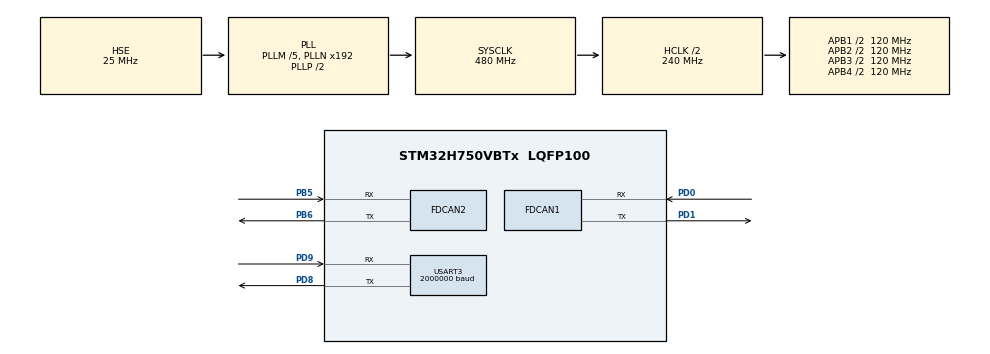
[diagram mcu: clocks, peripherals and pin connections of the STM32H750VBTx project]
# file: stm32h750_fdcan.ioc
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CORTEX_M7.CPU_DCache=Disabled
CORTEX_M7.CPU_ICache=Disabled
FDCAN1.AutoRetransmission=ENABLE
FDCAN1.DataPrescaler=2
FDCAN1.DataSyncJumpWidth=5
FDCAN1.DataTimeSeg1=14
FDCAN1.DataTimeSeg2=5
FDCAN1.ExtFiltersNbr=32
FDCAN1.FrameFormat=FDCAN_FRAME_FD_BRS
FDCAN1.NominalPrescaler=2
FDCAN1.NominalSyncJumpWidth=16
FDCAN1.NominalTimeSeg1=63
FDCAN1.NominalTimeSeg2=16
FDCAN1.RxBufferSize=FDCAN_DATA_BYTES_64
FDCAN1.RxFifo0ElmtSize=FDCAN_DATA_BYTES_64
FDCAN1.RxFifo0ElmtsNbr=32
FDCAN1.RxFifo1ElmtSize=FDCAN_DATA_BYTES_64
FDCAN1.StdFiltersNbr=64
FDCAN1.TransmitPause=ENABLE
FDCAN1.TxElmtSize=FDCAN_DATA_BYTES_64
FDCAN1.TxFifoQueueElmtsNbr=16
FDCAN2.AutoRetransmission=ENABLE
FDCAN2.DataPrescaler=2
FDCAN2.DataSyncJumpWidth=5
FDCAN2.DataTimeSeg1=14
FDCAN2.DataTimeSeg2=5
FDCAN2.ExtFiltersNbr=32
FDCAN2.FrameFormat=FDCAN_FRAME_FD_BRS
FDCAN2.MessageRAMOffset=992
FDCAN2.NominalPrescaler=2
FDCAN2.NominalSyncJumpWidth=16
FDCAN2.NominalTimeSeg1=63
FDCAN2.NominalTimeSeg2=16
FDCAN2.RxBufferSize=FDCAN_DATA_BYTES_64
FDCAN2.RxFifo0ElmtSize=FDCAN_DATA_BYTES_64
FDCAN2.RxFifo0ElmtsNbr=32
FDCAN2.RxFifo1ElmtSize=FDCAN_DATA_BYTES_64
FDCAN2.StdFiltersNbr=64
FDCAN2.TransmitPause=ENABLE
FDCAN2.TxBuffersNbr=0
FDCAN2.TxElmtSize=FDCAN_DATA_BYTES_64
FDCAN2.TxFifoQueueElmtsNbr=16
Mcu.Family=STM32H7
Mcu.Name=STM32H750VBTx
Mcu.Package=LQFP100
NVIC.FDCAN1_IT0_IRQn=true\:0\:0\:false\:false\:true\:true\:true
NVIC.FDCAN2_IT0_IRQn=true\:0\:0\:false\:false\:true\:true\:true
NVIC.PriorityGroup=NVIC_PRIORITYGROUP_4
NVIC.TIM6_DAC_IRQn=true\:0\:0\:false\:false\:true\:true\:true
PA13\ (JTMS/SWDIO).Mode=Serial_Wire
PA13\ (JTMS/SWDIO).Signal=DEBUG_JTMS-SWDIO
PA14\ (JTCK/SWCLK).Mode=Serial_Wire
PA14\ (JTCK/SWCLK).Signal=DEBUG_JTCK-SWCLK
PB5.Mode=FDCANFD
PB5.Signal=FDCAN2_RX
PB6.Mode=FDCANFD
PB6.Signal=FDCAN2_TX
PD0.Mode=FDCANFD
PD0.Signal=FDCAN1_RX
PD1.Mode=FDCANFD
PD1.Signal=FDCAN1_TX
PD8.Mode=Asynchronous
PD8.Signal=USART3_TX
PD9.Mode=Asynchronous
PD9.Signal=USART3_RX
PH0-OSC_IN\ (PH0).Mode=HSE-External-Oscillator
PH0-OSC_IN\ (PH0).Signal=RCC_OSC_IN
PH1-OSC_OUT\ (PH1).Mode=HSE-External-Oscillator
PH1-OSC_OUT\ (PH1).Signal=RCC_OSC_OUT
ProjectManager.HeapSize=0x2000
ProjectManager.StackSize=0x2000
ProjectManager.TargetToolchain=MDK-ARM V5.27
RCC.ADCFreq_Value=50390625
RCC.APB1Freq_Value=120000000
RCC.APB2Freq_Value=120000000
RCC.APB3Freq_Value=120000000
RCC.APB4Freq_Value=120000000
RCC.CortexFreq_Value=480000000
RCC.D1PPRE=RCC_APB3_DIV2
RCC.D2PPRE1=RCC_APB1_DIV2
RCC.D2PPRE2=RCC_APB2_DIV2
RCC.D3PPRE=RCC_APB4_DIV2
RCC.DIVM1=5
RCC.DIVN1=192
RCC.DIVQ1=12
RCC.HCLKFreq_Value=240000000
RCC.HPRE=RCC_HCLK_DIV2
RCC.HSE_VALUE=25000000
RCC.PLLFRACN=0
RCC.PLLSourceVirtual=RCC_PLLSOURCE_HSE
RCC.SYSCLKFreq_VALUE=480000000
RCC.SYSCLKSource=RCC_SYSCLKSOURCE_PLLCLK
RCC.USBFreq_Value=80000000
TIM6.Period=100-1
TIM6.Prescaler=240-1
USART3.BaudRate=2000000
USART3.DMADisableonRxErrorParam=ADVFEATURE_DMA_DISABLEONRXERROR
USART3.OverrunDisableParam=ADVFEATURE_OVERRUN_DISABLE
USART3.VirtualMode-Asynchronous=VM_ASYNC
VP_TIM6_VS_ClockSourceINT.Mode=Enable_Timer
board=custom

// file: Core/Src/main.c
/* USER CODE BEGIN Header */
/**
  ******************************************************************************
  * @file           : main.c
  * @brief          : Main program body
  ******************************************************************************
  * @attention
  *
  * <h2><center>&copy; Copyright (c) 2021 STMicroelectronics.
  * All rights reserved.</center></h2>
  *
  * This software component is licensed by ST under BSD 3-Clause license,
  * the "License"; You may not use this file except in compliance with the
  * License. You may obtain a copy of the License at:
  *                        opensource.org/licenses/BSD-3-Clause
  *
  ******************************************************************************
  */
/* USER CODE END Header */
#include "main.h"
#include "fdcan.h"
#include "tim.h"
#include "usart.h"
#include "gpio.h"

/* USER CODE BEGIN Includes */
#include <stdio.h>
#include <string.h>
/* USER CODE END Includes */

void SystemClock_Config(void);

/* USER CODE BEGIN 0 */
FDCAN_FilterTypeDef sFilterConfig1;
FDCAN_FilterTypeDef sFilterConfig2;

void fdcan1_config(void)
{
  sFilterConfig1.IdType = FDCAN_STANDARD_ID;
  sFilterConfig1.FilterIndex = 0;
  sFilterConfig1.FilterType = FDCAN_FILTER_MASK;
  sFilterConfig1.FilterConfig = FDCAN_FILTER_TO_RXFIFO0;
  sFilterConfig1.FilterID1 = 0;
  sFilterConfig1.FilterID2 = 0;
  HAL_FDCAN_ConfigFilter(&hfdcan1, &sFilterConfig1);

  sFilterConfig1.IdType = FDCAN_EXTENDED_ID;
  sFilterConfig1.FilterIndex = 0;
  sFilterConfig1.FilterType = FDCAN_FILTER_MASK;
  sFilterConfig1.FilterConfig = FDCAN_FILTER_TO_RXFIFO0;
  sFilterConfig1.FilterID1 = 0;
  sFilterConfig1.FilterID2 = 0;
	HAL_FDCAN_ConfigFilter(&hfdcan1, &sFilterConfig1);

	/* Configure global filter to reject all non-matching frames */
	HAL_FDCAN_ConfigGlobalFilter(&hfdcan1, FDCAN_REJECT, FDCAN_REJECT, FDCAN_FILTER_REMOTE, FDCAN_FILTER_REMOTE);

	/* Configure Rx FIFO 0 watermark to 2 */
  //HAL_FDCAN_ConfigFifoWatermark(&hfdcan1, FDCAN_CFG_RX_FIFO0, 2);

  /* Activate Rx FIFO 0 new message notification on both FDCAN instances */
  HAL_FDCAN_ActivateNotification(&hfdcan1, FDCAN_IT_RX_FIFO0_NEW_MESSAGE, 0);

  HAL_FDCAN_ActivateNotification(&hfdcan1, FDCAN_IT_BUS_OFF, 0);

  /* Configure and enable Tx Delay Compensation, required for BRS mode.
        TdcOffset default recommended value: DataTimeSeg1 * DataPrescaler
        TdcFilter default recommended value: 0 */
  HAL_FDCAN_ConfigTxDelayCompensation(&hfdcan1, hfdcan1.Init.DataPrescaler * hfdcan1.Init.DataTimeSeg1, 0);
  HAL_FDCAN_EnableTxDelayCompensation(&hfdcan1);

  HAL_FDCAN_Start(&hfdcan1);
}

void fdcan2_config(void)
{
  sFilterConfig2.IdType = FDCAN_STANDARD_ID;
  sFilterConfig2.FilterIndex = 0;
  sFilterConfig2.FilterType = FDCAN_FILTER_MASK;
  sFilterConfig2.FilterConfig = FDCAN_FILTER_TO_RXFIFO0;
  sFilterConfig2.FilterID1 = 0;
  sFilterConfig2.FilterID2 = 0;
  HAL_FDCAN_ConfigFilter(&hfdcan2, &sFilterConfig2);

  sFilterConfig2.IdType = FDCAN_EXTENDED_ID;
  sFilterConfig2.FilterIndex = 0;
  sFilterConfig2.FilterType = FDCAN_FILTER_MASK;
  sFilterConfig2.FilterConfig = FDCAN_FILTER_TO_RXFIFO0;
  sFilterConfig2.FilterID1 = 0;
  sFilterConfig2.FilterID2 = 0;
	HAL_FDCAN_ConfigFilter(&hfdcan2, &sFilterConfig2);

	/* Configure global filter to reject all non-matching frames */
	HAL_FDCAN_ConfigGlobalFilter(&hfdcan2, FDCAN_REJECT, FDCAN_REJECT, FDCAN_FILTER_REMOTE, FDCAN_FILTER_REMOTE);

  /* Activate Rx FIFO 0 new message notification on both FDCAN instances */
  HAL_FDCAN_ActivateNotification(&hfdcan2, FDCAN_IT_RX_FIFO0_NEW_MESSAGE, 0);

  HAL_FDCAN_ActivateNotification(&hfdcan2, FDCAN_IT_BUS_OFF, 0);

  /* Configure and enable Tx Delay Compensation, required for BRS mode.
        TdcOffset default recommended value: DataTimeSeg1 * DataPrescaler
        TdcFilter default recommended value: 0 */
  HAL_FDCAN_ConfigTxDelayCompensation(&hfdcan2, hfdcan2.Init.DataPrescaler * hfdcan2.Init.DataTimeSeg1, 0);
  HAL_FDCAN_EnableTxDelayCompensation(&hfdcan2);

  HAL_FDCAN_Start(&hfdcan2);
}

FDCAN_RxHeaderTypeDef RxHeader1;
FDCAN_RxHeaderTypeDef RxHeader2;
uint8_t RxData1[64];
uint8_t RxData2[64];

////0xF0000 => 64
uint8_t dlc2len[]={0,1,2,3,4,5,6,7,8,12,16,20,24,32,48,64};
uint8_t can_dlc2len(uint32_t RxHeader_DataLength)
{
  return dlc2len[RxHeader_DataLength>>16];
}

uint8_t cnt = 0;
uint8_t brs[] = {'-', 'B'};
uint8_t esi[] = {'-', 'E'};
void HAL_FDCAN_RxFifo0Callback(FDCAN_HandleTypeDef *hfdcan, uint32_t RxFifo0ITs)
{
  if((RxFifo0ITs & FDCAN_IT_RX_FIFO0_NEW_MESSAGE) != 0) {

    //memset(&RxHeader1, 0, sizeof(FDCAN_RxHeaderTypeDef));	//if use, lose frame

    HAL_FDCAN_GetRxMessage(hfdcan, FDCAN_RX_FIFO0, &RxHeader1, RxData1);
		if (hfdcan->Instance == FDCAN1) {
		  printf("fdcan1, ");
	  } else if (hfdcan->Instance == FDCAN2) {
		  printf("fdcan2, ");
	  } else {
		}
    printf("0x%8X, %02d, %c, %c:",RxHeader1.Identifier,
                                  can_dlc2len(RxHeader1.DataLength),
                                  brs[RxHeader1.BitRateSwitch>>20 & 0x1],
                                  esi[RxHeader1.ErrorStateIndicator>>31 & 0x1]);
    for(cnt = 0; cnt < can_dlc2len(RxHeader1.DataLength); cnt++) {
      printf(" %02X", RxData1[cnt]);
    }
    printf("\n\r");
  }
}

FDCAN_TxHeaderTypeDef TxHeader1;
FDCAN_TxHeaderTypeDef TxHeader2;
FDCAN_TxHeaderTypeDef TxHeader3;
uint8_t TxData1[64];
uint8_t TxData2[64];

typedef struct {
	uint8_t flag;
	uint8_t index;
  FDCAN_TxHeaderTypeDef TxHeader[16];
  uint8_t TxData[64*16];
} FDCAN_SendFailTypeDef;

FDCAN_SendFailTypeDef fdcan1_send_fail = {0};
FDCAN_SendFailTypeDef fdcan2_send_fail = {0};

void fdcan1_transmit(uint32_t can_id, uint32_t DataLength, uint8_t tx_data[])
{
  TxHeader1.Identifier = can_id;
  TxHeader1.IdType = FDCAN_EXTENDED_ID;
  if(can_id < 0x800) {  //exactly not right
    TxHeader1.IdType = FDCAN_STANDARD_ID;
  }
  TxHeader1.TxFrameType = FDCAN_DATA_FRAME;
  TxHeader1.DataLength = DataLength;
  TxHeader1.ErrorStateIndicator = FDCAN_ESI_ACTIVE;
  TxHeader1.BitRateSwitch = FDCAN_BRS_ON;
  TxHeader1.FDFormat = FDCAN_FD_CAN;
  TxHeader1.TxEventFifoControl = FDCAN_NO_TX_EVENTS;
  TxHeader1.MessageMarker = 0;  //Tx Event FIFO Use
  if(HAL_FDCAN_AddMessageToTxFifoQ(&hfdcan1, &TxHeader1, tx_data) != HAL_OK) {
		//memset(&fdcan1_send_fail.TxHeader[fdcan1_send_fail.index], 0, sizeof(FDCAN_TxHeaderTypeDef));
		//memset(&fdcan1_send_fail.TxData[64*fdcan1_send_fail.index], 0, 64);
    memcpy(&fdcan1_send_fail.TxHeader[fdcan1_send_fail.index], &TxHeader1, sizeof(FDCAN_TxHeaderTypeDef));
    memcpy(&fdcan1_send_fail.TxData[64*fdcan1_send_fail.index], tx_data, can_dlc2len(DataLength));
		fdcan1_send_fail.index = (fdcan1_send_fail.index + 1) & 0x0F;	//0~15
		fdcan1_send_fail.flag = 1;
  }
}

void fdcan2_transmit(uint32_t can_id, uint32_t DataLength, uint8_t tx_data[])
{
  TxHeader2.Identifier = can_id;
  TxHeader2.IdType = FDCAN_EXTENDED_ID;
  if(can_id < 0x800) {  //exactly not right
    TxHeader2.IdType = FDCAN_STANDARD_ID;
  }
  TxHeader2.TxFrameType = FDCAN_DATA_FRAME;
  TxHeader2.DataLength = DataLength;
  TxHeader2.ErrorStateIndicator = FDCAN_ESI_ACTIVE;
  TxHeader2.BitRateSwitch = FDCAN_BRS_ON;
  TxHeader2.FDFormat = FDCAN_FD_CAN;
  TxHeader2.TxEventFifoControl = FDCAN_NO_TX_EVENTS;
  TxHeader2.MessageMarker = 0;  //Tx Event FIFO Use
  if(HAL_FDCAN_AddMessageToTxFifoQ(&hfdcan2, &TxHeader2, tx_data) != HAL_OK) {
		//memset(&fdcan2_send_fail.TxHeader[fdcan2_send_fail.index], 0, sizeof(FDCAN_TxHeaderTypeDef));
		//memset(&fdcan2_send_fail.TxData[64*fdcan2_send_fail.index], 0, 64);
    memcpy(&fdcan2_send_fail.TxHeader[fdcan2_send_fail.index], &TxHeader2, sizeof(FDCAN_TxHeaderTypeDef));
    memcpy(&fdcan2_send_fail.TxData[64*fdcan2_send_fail.index], tx_data, can_dlc2len(DataLength));
		fdcan2_send_fail.index = (fdcan2_send_fail.index + 1) & 0x0F;	//0~15
		fdcan2_send_fail.flag = 1;
  }
}

void HAL_FDCAN_ErrorStatusCallback(FDCAN_HandleTypeDef *hfdcan, uint32_t ErrorStatusITs)
{
  //__HAL_FDCAN_CLEAR_FLAG(hfdcan, FDCAN_FLAG_BUS_OFF);
  if(hfdcan->Instance == FDCAN1) {
    MX_FDCAN1_Init();
    fdcan1_config();
  } else if(hfdcan->Instance == FDCAN2) {
    MX_FDCAN2_Init();
    fdcan2_config();
  } else {
  }
}

uint8_t tim6_flag = 0;
void HAL_TIM_PeriodElapsedCallback(TIM_HandleTypeDef *htim)
{
    if(htim->Instance == TIM6) {
        tim6_flag = 1;
    }
}

/* USER CODE END 0 */

int main(void)
{

  /* MCU Configuration--------------------------------------------------------*/

  /* Reset of all peripherals, Initializes the Flash interface and the Systick. */
  HAL_Init();

  /* Configure the system clock */
  SystemClock_Config();

  /* Initialize all configured peripherals */
  MX_GPIO_Init();
  MX_FDCAN1_Init();
  MX_FDCAN2_Init();
  MX_TIM6_Init();
  MX_USART3_UART_Init();
  /* USER CODE BEGIN 2 */
	fdcan1_config();
	fdcan2_config();

	for(uint8_t i = 0; i < 64; i++) {
    TxData1[i] = i;
    TxData2[i] = i;
  }

	HAL_TIM_Base_Start_IT(&htim6);

	uint32_t count = 0;
  uint32_t cnt_100us = 0;
  uint32_t cnt_500us = 0;
	uint32_t i = 0;
  /* USER CODE END 2 */

  /* Infinite loop */
  while (1)
  {

    /* USER CODE BEGIN 3 */

    if(tim6_flag && count < 1000) {
      tim6_flag = 0;
      TxData1[0] = count >> 8 & 0xFF;
      TxData1[1] = count & 0xFF;

      ++cnt_100us;
      cnt_500us = cnt_100us / 5;
      if(cnt_500us && (cnt_100us%5==0) ) {
        switch(cnt_500us) {
          case 1: fdcan1_transmit(0x108, FDCAN_DLC_BYTES_64, TxData1);
                   fdcan1_transmit(0x101, FDCAN_DLC_BYTES_64, TxData1);
                   fdcan1_transmit(0x102, FDCAN_DLC_BYTES_64, TxData1);
                   fdcan1_transmit(0x103, FDCAN_DLC_BYTES_64, TxData1);
                   fdcan1_transmit(0x104, FDCAN_DLC_BYTES_64, TxData1);
                   fdcan1_transmit(0x105, FDCAN_DLC_BYTES_64, TxData1);
                   fdcan1_transmit(0x106, FDCAN_DLC_BYTES_64, TxData1);
                   fdcan1_transmit(0x107, FDCAN_DLC_BYTES_64, TxData1);
									 fdcan1_transmit(0x12345678, FDCAN_DLC_BYTES_64, TxData1);
									 fdcan1_transmit(0x12345671, FDCAN_DLC_BYTES_64, TxData1);
									 fdcan1_transmit(0x12345672, FDCAN_DLC_BYTES_64, TxData1);
									 fdcan1_transmit(0x12345673, FDCAN_DLC_BYTES_64, TxData1);
									 fdcan1_transmit(0x12345674, FDCAN_DLC_BYTES_64, TxData1);
									 fdcan1_transmit(0x12345675, FDCAN_DLC_BYTES_64, TxData1);
									 fdcan1_transmit(0x12345676, FDCAN_DLC_BYTES_64, TxData1);
									 fdcan1_transmit(0x12345677, FDCAN_DLC_BYTES_64, TxData1);
									 //fdcan1_transmit(0x12345670, FDCAN_DLC_BYTES_64, TxData1);
									 break;
          case 17: /* next send */ break;
          case 18: break;
					case 19: break;
          case 20: ++count; cnt_100us = 0; break; //10ms
        }
      } else {  //fail retransmission once

        if(fdcan1_send_fail.flag && cnt_500us > 17) {	//can't conflict with normal send
					for(i = 0; i < fdcan1_send_fail.index; i++) {
						fdcan1_transmit(fdcan1_send_fail.TxHeader[i].Identifier,
														  fdcan1_send_fail.TxHeader[i].DataLength,
														  &fdcan1_send_fail.TxData[64*i]);
					}
					fdcan1_send_fail.index = 0;
          fdcan1_send_fail.flag = 0;	//maybe send 4 times or more
        }

				if(fdcan2_send_fail.flag && cnt_500us > 16) {
					for(i = 0; i < fdcan2_send_fail.index; i++) {
						fdcan2_transmit(fdcan2_send_fail.TxHeader[i].Identifier,
														  fdcan2_send_fail.TxHeader[i].DataLength,
														  &fdcan2_send_fail.TxData[64*i]);
					}
					fdcan2_send_fail.index = 0;
          fdcan2_send_fail.flag = 0;
        }

      }
    }

  }
  /* USER CODE END 3 */
}

void SystemClock_Config(void)
{
  RCC_OscInitTypeDef RCC_OscInitStruct = {0};
  RCC_ClkInitTypeDef RCC_ClkInitStruct = {0};
  RCC_PeriphCLKInitTypeDef PeriphClkInitStruct = {0};

  /** Supply configuration update enable
  */
  HAL_PWREx_ConfigSupply(PWR_LDO_SUPPLY);
  /** Configure the main internal regulator output voltage
  */
  __HAL_PWR_VOLTAGESCALING_CONFIG(PWR_REGULATOR_VOLTAGE_SCALE0);

  while(!__HAL_PWR_GET_FLAG(PWR_FLAG_VOSRDY)) {}
  /** Initializes the RCC Oscillators according to the specified parameters
  * in the RCC_OscInitTypeDef structure.
  */
  RCC_OscInitStruct.OscillatorType = RCC_OSCILLATORTYPE_HSE;
  RCC_OscInitStruct.HSEState = RCC_HSE_ON;
  RCC_OscInitStruct.PLL.PLLState = RCC_PLL_ON;
  RCC_OscInitStruct.PLL.PLLSource = RCC_PLLSOURCE_HSE;
  RCC_OscInitStruct.PLL.PLLM = 5;
  RCC_OscInitStruct.PLL.PLLN = 192;
  RCC_OscInitStruct.PLL.PLLP = 2;
  RCC_OscInitStruct.PLL.PLLQ = 12;
  RCC_OscInitStruct.PLL.PLLR = 2;
  RCC_OscInitStruct.PLL.PLLRGE = RCC_PLL1VCIRANGE_2;
  RCC_OscInitStruct.PLL.PLLVCOSEL = RCC_PLL1VCOWIDE;
  RCC_OscInitStruct.PLL.PLLFRACN = 0;
  if (HAL_RCC_OscConfig(&RCC_OscInitStruct) != HAL_OK)
  {
    Error_Handler();
  }
  /** Initializes the CPU, AHB and APB buses clocks
  */
  RCC_ClkInitStruct.ClockType = RCC_CLOCKTYPE_HCLK|RCC_CLOCKTYPE_SYSCLK
                              |RCC_CLOCKTYPE_PCLK1|RCC_CLOCKTYPE_PCLK2
                              |RCC_CLOCKTYPE_D3PCLK1|RCC_CLOCKTYPE_D1PCLK1;
  RCC_ClkInitStruct.SYSCLKSource = RCC_SYSCLKSOURCE_PLLCLK;
  RCC_ClkInitStruct.SYSCLKDivider = RCC_SYSCLK_DIV1;
  RCC_ClkInitStruct.AHBCLKDivider = RCC_HCLK_DIV2;
  RCC_ClkInitStruct.APB3CLKDivider = RCC_APB3_DIV2;
  RCC_ClkInitStruct.APB1CLKDivider = RCC_APB1_DIV2;
  RCC_ClkInitStruct.APB2CLKDivider = RCC_APB2_DIV2;
  RCC_ClkInitStruct.APB4CLKDivider = RCC_APB4_DIV2;

  if (HAL_RCC_ClockConfig(&RCC_ClkInitStruct, FLASH_LATENCY_4) != HAL_OK)
  {
    Error_Handler();
  }
  PeriphClkInitStruct.PeriphClockSelection = RCC_PERIPHCLK_USART3|RCC_PERIPHCLK_FDCAN;
  PeriphClkInitStruct.FdcanClockSelection = RCC_FDCANCLKSOURCE_PLL;
  PeriphClkInitStruct.Usart234578ClockSelection = RCC_USART234578CLKSOURCE_D2PCLK1;
  if (HAL_RCCEx_PeriphCLKConfig(&PeriphClkInitStruct) != HAL_OK)
  {
    Error_Handler();
  }
}

/* USER CODE BEGIN 4 */
int fputc(int ch,FILE *f)
{
    HAL_UART_Transmit(&huart3,(uint8_t *)&ch,1,100);
    return 0;
}
/* USER CODE END 4 */

void Error_Handler(void)
{
}

/************************ (C) COPYRIGHT STMicroelectronics *****END OF FILE****/
